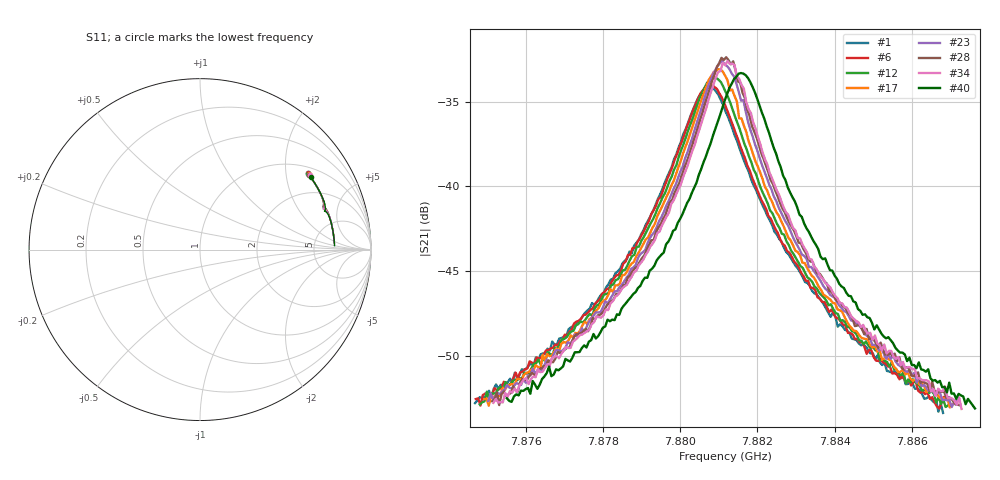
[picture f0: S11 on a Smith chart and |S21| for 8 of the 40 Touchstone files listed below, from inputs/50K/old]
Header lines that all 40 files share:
#  HZ  S  DB  R  50.00
! Rohde & Schwarz Vector Network Analyzer
! Rohde-Schwarz,ZNB20-2Port,1311601062101988,3.16
! freq[Hz]  db:S11  ang:S11  db:S21  ang:S21  db:S12  ang:S12  db:S22  ang:S22
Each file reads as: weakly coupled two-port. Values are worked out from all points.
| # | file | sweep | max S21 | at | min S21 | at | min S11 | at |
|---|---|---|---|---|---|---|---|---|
| 1 | 154_ST43.003_UT51.786_H67489.95.s2p | 7.87468 GHz to 7.88681 GHz | -34.14 dB | 7.88074 GHz | -53.4 dB | 7.88681 GHz | -2.4 dB | 7.88081 GHz |
| 2 | 155_ST42.999_UT51.79_H66681.88.s2p | 7.87468 GHz to 7.88682 GHz | -34.08 dB | 7.88075 GHz | -52.9 dB | 7.88682 GHz | -2.4 dB | 7.88081 GHz |
| 3 | 156_ST43.0_UT51.794_H65891.41.s2p | 7.87469 GHz to 7.88682 GHz | -34.08 dB | 7.88075 GHz | -53.1 dB | 7.88676 GHz | -2.4 dB | 7.88081 GHz |
| 4 | 157_ST43.002_UT51.799_H65065.39.s2p | 7.87469 GHz to 7.88682 GHz | -34.03 dB | 7.88076 GHz | -52.9 dB | 7.8867 GHz | -2.4 dB | 7.8807 GHz |
| 5 | 158_ST42.998_UT51.803_H64239.54.s2p | 7.8747 GHz to 7.88683 GHz | -34.04 dB | 7.88082 GHz | -53.2 dB | 7.88683 GHz | -2.4 dB | 7.88076 GHz |
| 6 | 159_ST43.002_UT51.808_H63395.06.s2p | 7.8747 GHz to 7.88683 GHz | -33.95 dB | 7.88077 GHz | -53.1 dB | 7.88671 GHz | -2.4 dB | 7.8807 GHz |
| 7 | 166_ST43.0_UT51.838_H57666.29.s2p | 7.87475 GHz to 7.88688 GHz | -33.82 dB | 7.88081 GHz | -53.1 dB | 7.88664 GHz | -2.4 dB | 7.88081 GHz |
| 8 | 171_ST43.0_UT51.858_H53572.05.s2p | 7.87478 GHz to 7.88691 GHz | -33.65 dB | 7.88084 GHz | -53.0 dB | 7.88678 GHz | -2.4 dB | 7.8809 GHz |
| 9 | 172_ST43.002_UT51.863_H52728.23.s2p | 7.87479 GHz to 7.88692 GHz | -33.66 dB | 7.88085 GHz | -52.9 dB | 7.88692 GHz | -2.4 dB | 7.88085 GHz |
| 10 | 173_ST42.998_UT51.864_H51973.98.s2p | 7.87479 GHz to 7.88692 GHz | -33.66 dB | 7.88086 GHz | -53.1 dB | 7.88692 GHz | -2.4 dB | 7.88086 GHz |
| 11 | 174_ST42.998_UT51.868_H51112.17.s2p | 7.8748 GHz to 7.88693 GHz | -33.63 dB | 7.88092 GHz | -52.9 dB | 7.88687 GHz | -2.4 dB | 7.88086 GHz |
| 12 | 175_ST43.001_UT51.873_H50321.74.s2p | 7.87481 GHz to 7.88694 GHz | -33.58 dB | 7.88087 GHz | -53.0 dB | 7.88688 GHz | -2.4 dB | 7.88093 GHz |
| 13 | 177_ST43.001_UT51.881_H48669.89.s2p | 7.87482 GHz to 7.88695 GHz | -33.52 dB | 7.88088 GHz | -53.5 dB | 7.88695 GHz | -2.4 dB | 7.88082 GHz |
| 14 | 188_ST43.0_UT51.926_H39654.15.s2p | 7.87489 GHz to 7.88703 GHz | -33.17 dB | 7.88096 GHz | -53.1 dB | 7.88696 GHz | -2.4 dB | 7.88096 GHz |
| 15 | 189_ST42.995_UT51.929_H38810.49.s2p | 7.8749 GHz to 7.88703 GHz | -33.18 dB | 7.88097 GHz | -53.1 dB | 7.88703 GHz | -2.4 dB | 7.88091 GHz |
| 16 | 190_ST43.0_UT51.933_H38038.04.s2p | 7.87491 GHz to 7.88704 GHz | -33.16 dB | 7.88097 GHz | -53.1 dB | 7.88692 GHz | -2.4 dB | 7.88097 GHz |
| 17 | 191_ST42.997_UT51.937_H37193.87.s2p | 7.87491 GHz to 7.88705 GHz | -33.08 dB | 7.88098 GHz | -53.1 dB | 7.88699 GHz | -2.4 dB | 7.88098 GHz |
| 18 | 193_ST42.999_UT51.944_H35524.12.s2p | 7.87493 GHz to 7.88706 GHz | -33.09 dB | 7.881 GHz | -53.0 dB | 7.887 GHz | -2.4 dB | 7.88094 GHz |
| 19 | 195_ST43.001_UT51.951_H33908.0.s2p | 7.87494 GHz to 7.88707 GHz | -32.81 dB | 7.88101 GHz | -53.2 dB | 7.88707 GHz | -2.4 dB | 7.88101 GHz |
| 20 | 197_ST43.0_UT51.958_H32273.48.s2p | 7.87496 GHz to 7.88709 GHz | -32.77 dB | 7.88096 GHz | -53.1 dB | 7.88709 GHz | -2.4 dB | 7.88102 GHz |
| 21 | 198_ST42.996_UT51.962_H31500.96.s2p | 7.87496 GHz to 7.88709 GHz | -32.88 dB | 7.88109 GHz | -53.0 dB | 7.88709 GHz | -2.4 dB | 7.88103 GHz |
| 22 | 201_ST43.002_UT51.972_H28983.88.s2p | 7.87499 GHz to 7.88712 GHz | -32.85 dB | 7.88111 GHz | -53.0 dB | 7.887 GHz | -2.4 dB | 7.88105 GHz |
| 23 | 206_ST43.004_UT51.988_H24937.99.s2p | 7.87503 GHz to 7.88716 GHz | -32.59 dB | 7.88109 GHz | -53.0 dB | 7.88703 GHz | -2.4 dB | 7.88109 GHz |
| 24 | 209_ST43.001_UT51.999_H22473.98.s2p | 7.87503 GHz to 7.88716 GHz | -32.61 dB | 7.88116 GHz | -53.0 dB | 7.88716 GHz | -2.4 dB | 7.88109 GHz |
| 25 | 210_ST43.0_UT52.001_H21628.88.s2p | 7.87507 GHz to 7.8872 GHz | -32.42 dB | 7.88114 GHz | -53.3 dB | 7.8872 GHz | -2.4 dB | 7.88108 GHz |
| 26 | 211_ST43.001_UT52.003_H20801.56.s2p | 7.87507 GHz to 7.8872 GHz | -32.35 dB | 7.88113 GHz | -53.1 dB | 7.88714 GHz | -2.4 dB | 7.88113 GHz |
| 27 | 212_ST42.998_UT52.007_H20010.92.s2p | 7.87507 GHz to 7.8872 GHz | -32.28 dB | 7.88114 GHz | -53.0 dB | 7.88714 GHz | -2.4 dB | 7.88114 GHz |
| 28 | 216_ST43.0_UT52.016_H16702.61.s2p | 7.87512 GHz to 7.88725 GHz | -32.37 dB | 7.88119 GHz | -52.9 dB | 7.88725 GHz | -2.4 dB | 7.88119 GHz |
| 29 | 217_ST42.997_UT52.018_H15875.16.s2p | 7.87512 GHz to 7.88725 GHz | -32.34 dB | 7.88112 GHz | -53.0 dB | 7.88725 GHz | -2.4 dB | 7.88118 GHz |
| 30 | 219_ST43.003_UT52.023_H14219.19.s2p | 7.87513 GHz to 7.88726 GHz | -32.34 dB | 7.8812 GHz | -53.0 dB | 7.88708 GHz | -2.4 dB | 7.8812 GHz |
| 31 | 220_ST42.998_UT52.024_H13373.87.s2p | 7.87513 GHz to 7.88726 GHz | -32.45 dB | 7.88126 GHz | -53.0 dB | 7.88714 GHz | -2.4 dB | 7.88113 GHz |
| 32 | 221_ST43.0_UT52.028_H12618.04.s2p | 7.87514 GHz to 7.88727 GHz | -32.53 dB | 7.88108 GHz | -53.0 dB | 7.8752 GHz | -2.4 dB | 7.88121 GHz |
| 33 | 222_ST42.997_UT52.03_H11790.55.s2p | 7.87515 GHz to 7.88729 GHz | -32.45 dB | 7.88122 GHz | -53.1 dB | 7.88729 GHz | -2.4 dB | 7.88116 GHz |
| 34 | 223_ST42.999_UT52.03_H10962.48.s2p | 7.87516 GHz to 7.88729 GHz | -32.60 dB | 7.88122 GHz | -53.2 dB | 7.88729 GHz | -2.4 dB | 7.88128 GHz |
| 35 | 224_ST43.0_UT52.032_H10117.05.s2p | 7.87516 GHz to 7.88729 GHz | -32.58 dB | 7.88123 GHz | -52.8 dB | 7.88723 GHz | -2.4 dB | 7.88123 GHz |
| 36 | 225_ST43.002_UT52.034_H9343.32.s2p | 7.87517 GHz to 7.8873 GHz | -32.95 dB | 7.88123 GHz | -53.0 dB | 7.87523 GHz | -2.4 dB | 7.88123 GHz |
| 37 | 226_ST43.003_UT52.036_H8479.54.s2p | 7.87517 GHz to 7.8873 GHz | -33.58 dB | 7.88123 GHz | -53.0 dB | 7.88724 GHz | -2.4 dB | 7.88129 GHz |
| 38 | 227_ST42.997_UT52.038_H7651.74.s2p | 7.87519 GHz to 7.88732 GHz | -34.34 dB | 7.88132 GHz | -53.3 dB | 7.88732 GHz | -2.3 dB | 7.88126 GHz |
| 39 | 231_ST43.0_UT52.042_H4429.9.s2p | 7.87545 GHz to 7.88758 GHz | -32.44 dB | 7.88158 GHz | -52.9 dB | 7.88758 GHz | -2.4 dB | 7.88152 GHz |
| 40 | 233_ST42.998_UT52.043_H2773.03.s2p | 7.87551 GHz to 7.88764 GHz | -33.31 dB | 7.88157 GHz | -53.1 dB | 7.88764 GHz | -2.4 dB | 7.88157 GHz |
